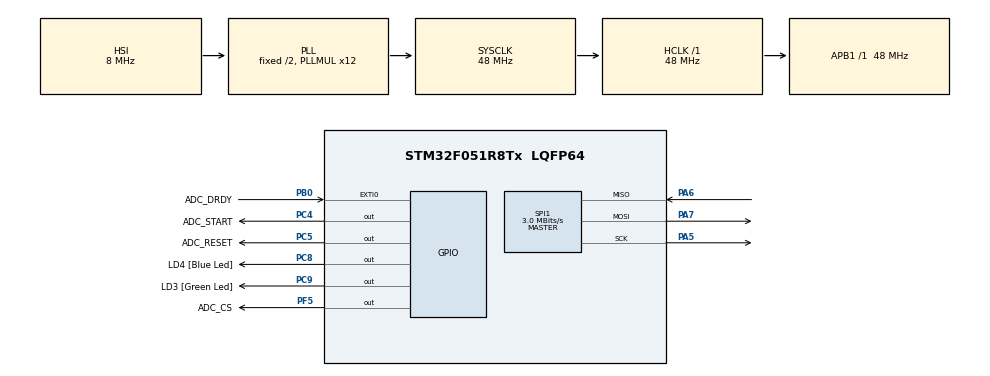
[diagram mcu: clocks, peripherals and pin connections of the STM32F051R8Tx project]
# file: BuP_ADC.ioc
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Mcu.Family=STM32F0
Mcu.Name=STM32F051R8Tx
Mcu.Package=LQFP64
NVIC.EXTI0_1_IRQn=true\:0\:0\:false\:false\:true\:true\:true
NVIC.SPI1_IRQn=true\:0\:0\:false\:false\:true\:true\:true
PA13.GPIO_Label=SWDIO
PA13.Mode=Serial_Wire
PA13.Signal=SYS_SWDIO
PA14.GPIO_Label=SWCLK
PA14.Mode=Serial_Wire
PA14.Signal=SYS_SWCLK
PA5.Mode=Full_Duplex_Master
PA5.Signal=SPI1_SCK
PA6.Mode=Full_Duplex_Master
PA6.Signal=SPI1_MISO
PA7.Mode=Full_Duplex_Master
PA7.Signal=SPI1_MOSI
PB0.GPIO_Label=ADC_DRDY
PB0.GPIO_ModeDefaultEXTI=GPIO_MODE_IT_FALLING
PB0.Signal=GPXTI0
PC4.GPIO_Label=ADC_START
PC4.Signal=GPIO_Output
PC5.GPIO_Label=ADC_RESET
PC5.Signal=GPIO_Output
PC8.GPIO_Label=LD4 [Blue Led]
PC8.Signal=GPIO_Output
PC9.GPIO_Label=LD3 [Green Led]
PC9.Signal=GPIO_Output
PF5.GPIO_Label=ADC_CS
PF5.GPIO_ModeDefaultOutputPP=GPIO_MODE_OUTPUT_PP
PF5.GPIO_PuPd=GPIO_NOPULL
PF5.PinState=GPIO_PIN_SET
PF5.Signal=GPIO_Output
ProjectManager.HeapSize=0x200
ProjectManager.StackSize=0x400
ProjectManager.TargetToolchain=STM32CubeIDE
RCC.AHBFreq_Value=48000000
RCC.APB1Freq_Value=48000000
RCC.APB1TimFreq_Value=48000000
RCC.HCLKFreq_Value=48000000
RCC.PLLMUL=RCC_PLL_MUL12
RCC.SYSCLKFreq_VALUE=48000000
RCC.SYSCLKSource=RCC_SYSCLKSOURCE_PLLCLK
SPI1.BaudRatePrescaler=SPI_BAUDRATEPRESCALER_16
SPI1.CLKPhase=SPI_PHASE_2EDGE
SPI1.CalculateBaudRate=3.0 MBits/s
SPI1.DataSize=SPI_DATASIZE_8BIT
SPI1.Direction=SPI_DIRECTION_2LINES
SPI1.Mode=SPI_MODE_MASTER
SPI1.VirtualType=VM_MASTER
board=STM32F0DISCOVERY

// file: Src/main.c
/* USER CODE BEGIN Header */
/**
  ******************************************************************************
  * @file           : main.c
  * @brief          : Main program body
  ******************************************************************************
  * @attention
  *
  * <h2><center>&copy; Copyright (c) 2019 STMicroelectronics.
  * All rights reserved.</center></h2>
  *
  * This software component is licensed by ST under BSD 3-Clause license,
  * the "License"; You may not use this file except in compliance with the
  * License. You may obtain a copy of the License at:
  *                        opensource.org/licenses/BSD-3-Clause
  *
  ******************************************************************************
  */
/* USER CODE END Header */

#include "main.h"
#include "spi.h"
#include "gpio.h"

/* USER CODE BEGIN Includes */
#include <math.h>
#include "ADS1204S0x.h"

/* USER CODE END Includes */

/* USER CODE BEGIN PD */

#define fullscale_voltage 2.5		// fullscale_voltage in Volt
#define bitresulution2 8388608		// 2^24 /2 --> Fullscale positiv

/* USER CODE END PD */

/* USER CODE BEGIN PV */

float f_measuredtemperature;		// Global variable for temperature
uint8_t ADCmeasuremenReady=0;		// Flag for measurement
float f_Channel3Measure;			// Global variable for extern input 3

uint8_t au8_registers[REGISTER_COUNT];	// Storrage for all registers (for later uses)

// Enum for statemachine temperaturemeasure
typedef enum {
	DISABLED,
	READY,			// Ready to measure
	NEWMEASURE,		// Data are completly read
	NEWTEMP,		// Data are calculated to temp
	MEASURE			// busy
}t_temperaturstate;

t_temperaturstate tempmeasurementstate = READY;	// define state

// Struct for measurement constants (depending of hardware)
typedef struct {
	float A 	;
	float B 	;
	float C 	;
	float alpha ;
	float R0 	;
	float R_11  ;		// Resistor 11 on ADCBoard (for current calculations )
}t_measurement_constants;

// Define PT100 depends on the used hardware
t_measurement_constants pt100 = {
		3.9083e-3,
		-5.775e-7,
		-4.183e-12,
		 3.85e-3,
		 100,
		 2200			//todo widerstand ist 2 ohm zu hoch --> Nullpunktabgleichen automatisieren :)
};

/* USER CODE END PV */

void SystemClock_Config(void);
/* USER CODE BEGIN PFP */

uint32_t ADCinit(void);

// ADC read registers
uint8_t ADCreadRegs(uint8_t u8_startadress, uint8_t u8_length, uint8_t *pu8_rxdata); 	// Read multiple registers
uint8_t ADCregread(uint8_t startadress);									// Read single register

// ADC write registers
uint8_t ADCwriteRegs(uint8_t startadress, uint8_t length, uint8_t *data);	// Write multiple registers
void ADCregwrite(uint8_t startadress, uint8_t data);						// Write single register

// ADC Commands
void ADCsendCommand(uint8_t op_code);
void ADCstart(void);						// Write START command

uint8_t setADCsigleChannel(uint8_t u8_channel);

// Calculations for temperature
float calctemperature(float Rtemp, t_measurement_constants tempresistor);				// Calculate Tempeature out of Rtemp
float calc_R_temperature(uint32_t *pu32_rawdata, t_measurement_constants tempresistor);	// Calculates Rtemp
float calcAnalogvoltage(uint32_t u32_measurement);										// Calculates analog voltage from input

// Data read funcions
float read_temperature(void);
uint32_t readsingleADCChannel(uint8_t u8_channel);			// Set Channel to required channel, delay until channel is stable, measure...
uint32_t ADRreadInput(uint8_t mode);					// Read data from ADC, mode 0= Command, 1= ISR (DRDY must be high)

/* USER CODE END PFP */

int main(void)
{

  /* MCU Configuration--------------------------------------------------------*/

  /* Reset of all peripherals, Initializes the Flash interface and the Systick. */
  HAL_Init();

  /* Configure the system clock */
  SystemClock_Config();

  /* Initialize all configured peripherals */
  MX_GPIO_Init();
  MX_SPI1_Init();
  /* USER CODE BEGIN 2 */

  ADCinit();
  /* USER CODE END 2 */

  /* Infinite loop */
  /* USER CODE BEGIN WHILE */

  if(tempmeasurementstate==READY)
  {
	  read_temperature();

  }//tempmeasurementstate;// = ready;

  while (1)
  {
	  /* ToDo
	   * - Berechnungen Widerstand & Temperatur		--> JUHU
	   * - Spannungen von Extern Auslesen			--> JUHU
	   * - ISR zum Auslesen							--> JUHU
	   * - Temperaturmessung ausprobieren			--> JUHU
	   * - Temperaturmesseung kallibrieren			-->
	   */

	  //HAL_GPIO_TogglePin(LD3_GPIO_Port, LD3_Pin);

	 /* for(uint8_t i=0; i<=4; i++)
	  {
		  read_temperature();
	  }

	  if(tempmeasurementstate == NEWTEMP)
	  {
		  f_measuredtemperature = read_temperature();
		  tempmeasurementstate = READY;

	  }
*/

	  f_Channel3Measure=calcAnalogvoltage( readsingleADCChannel(3));

    /* USER CODE END WHILE */

  }
}

void SystemClock_Config(void)
{
  RCC_OscInitTypeDef RCC_OscInitStruct = {0};
  RCC_ClkInitTypeDef RCC_ClkInitStruct = {0};

  /** Initializes the CPU, AHB and APB busses clocks
  */
  RCC_OscInitStruct.OscillatorType = RCC_OSCILLATORTYPE_HSI;
  RCC_OscInitStruct.HSIState = RCC_HSI_ON;
  RCC_OscInitStruct.HSICalibrationValue = RCC_HSICALIBRATION_DEFAULT;
  RCC_OscInitStruct.PLL.PLLState = RCC_PLL_ON;
  RCC_OscInitStruct.PLL.PLLSource = RCC_PLLSOURCE_HSI;
  RCC_OscInitStruct.PLL.PLLMUL = RCC_PLL_MUL12;
  RCC_OscInitStruct.PLL.PREDIV = RCC_PREDIV_DIV1;
  if (HAL_RCC_OscConfig(&RCC_OscInitStruct) != HAL_OK)
  {
    Error_Handler();
  }
  /** Initializes the CPU, AHB and APB busses clocks
  */
  RCC_ClkInitStruct.ClockType = RCC_CLOCKTYPE_HCLK|RCC_CLOCKTYPE_SYSCLK
                              |RCC_CLOCKTYPE_PCLK1;
  RCC_ClkInitStruct.SYSCLKSource = RCC_SYSCLKSOURCE_PLLCLK;
  RCC_ClkInitStruct.AHBCLKDivider = RCC_SYSCLK_DIV1;
  RCC_ClkInitStruct.APB1CLKDivider = RCC_HCLK_DIV1;

  if (HAL_RCC_ClockConfig(&RCC_ClkInitStruct, FLASH_LATENCY_1) != HAL_OK)
  {
    Error_Handler();
  }
}

/* USER CODE BEGIN 4 */

/* Diese Funktion wird bei einem DRDY Interrupt automatisch ausgeführt
 * Daten sind bereit und können ausgelesen werden.
 */
void ADC_DRDY_InputHandler(void)
{
	// HAL_GPIO_TogglePin(LD3_GPIO_Port, LD3_Pin);
	 ADCmeasuremenReady=1;
}

uint32_t ADCinit(void)
{
	HAL_Delay(3);												// minimum delay of 2.2 ms to allow power supplies to settle and power-up reset to complete
	HAL_GPIO_WritePin(ADC_RESET_GPIO_Port,ADC_RESET_Pin,1); 	// Set reset
	HAL_GPIO_WritePin(ADC_CS_GPIO_Port,ADC_CS_Pin,1);			//
	HAL_GPIO_WritePin(ADC_START_GPIO_Port, ADC_START_Pin,0);	// Start by command (Start pin LOW)
	HAL_Delay(10);

	while(ADCregread(STATUS_REG_ADDR) & ADS_RDY)				// Ready bit überprüfen  //todo ist bisschen hart wenn immer in dieser while
	{
		HAL_Delay(5);
	}
	ADCregwrite(STATUS_REG_ADDR, ADCregread(STATUS_REG_ADDR)&~ADS_FL_POR); // Clear FL POR Flag (Redback,...)

	ADCsendCommand(WAKE_COMMAND);		// Sollte nicht sein, jedoch zur sicherheit

	//todo

	//Read all Registers to simplify config
	ADCreadRegs(ID_REG_ADDR,REGISTER_COUNT, au8_registers);

	//Set Mode to single conversation opearation (Always use ADCstart() )
	//au8_registers[DATARATE_REG_ADDR] &= ADS_CONVMODE_SS;

	au8_registers[INPMUX_REG_ADDR]	|= (ADS_P_AIN4 | ADS_N_AINCOM); // // Select INPUT (INPMUX- Register): Setzen der Eingänge
	au8_registers[REF_REG_ADDR]		= (ADS_REFINT_ON_ALWAYS+ADS_REFSEL_INT); // Set Internal voltage Reference (2.5V Max inputvoltage = 2.5V)

	ADCwriteRegs(ID_REG_ADDR,REGISTER_COUNT, au8_registers); 	// write all registers

	//ADCregwrite(PGA_REG_ADDR, ADS_PGA_ENABLED);
	//ADCsendCommand(STOP_COMMAND);
	ADCsendCommand(START_COMMAND);

	ADCstart();
	//HAL_GPIO_WritePin(ADC_START_GPIO_Port, ADC_START_Pin,1);	// Start by Pin

	return 0;
}

/* Schreibt ein Register des ADCs
 * @param	startadress 	-> Zu schreibendes Register
 * @param	data			-> Daten für in das Register
 */
void ADCregwrite(uint8_t startadress, uint8_t data)
{
	uint8_t txdata[1] = {data};
	ADCwriteRegs(startadress, 1, txdata);
}

/* Liest ein Register des ADCs
 * @param	startadress	-> zu lesendes Register
 * @resp	Gelesenes Register
 */
uint8_t ADCregread(uint8_t startadress)
{
	uint8_t rxdata[1] = {0};
	ADCreadRegs(startadress, 1, rxdata);
	return rxdata[0];
}

/* Sendet ADC Komando Start (steuerung über Command, Start-PIN = LOW)
 */
void ADCstart(void)
{
	ADCmeasuremenReady=0;
	//ADCsendCommand(START_COMMAND);
}

/* Schreibt mehrere, aufeinanderfolgende Register des ADCs
 * @param	u8_startadress	-> Erstes zu schreibendes Register
 * @param	u8_length		-> Anzahl zu schreibende 8Bit Register
 * @param 	pu8_data		-> Pointer auf Array mit den Daten
 * @resp	erfolgreich =1, sonst 0
 */
uint8_t ADCwriteRegs(uint8_t u8_startadress, uint8_t u8_length, uint8_t *pu8_data)
{
	/*	Protokollaufbau:
	 * 	0b010r'rrrr		Startadress | 0x40 for WriteRegister
	 * 	length -1		0 = 1Byte, 1= 2Byte
	 * 	Data(...)
	 */

	// checks maximal length
	if(u8_length==0 && u8_length > REGISTER_COUNT)	// sonst werden keine Daten gesendet, Max register, 0 ist auch ein register! deshalb >=
	{
		return 0;
	}

	// erstellen eines Array für das senden der Daten
	uint8_t txdata[u8_length+2];
	txdata[0]= u8_startadress | 0x40; 	// set write command
	txdata[1]= u8_length -1; 	// 0x00 is 1 byte

	for(uint8_t i=0; i<u8_length; i++)	// Dateiinhalt in txdata plazieren
	{
		txdata[i+2]= *(pu8_data+i);
	}

	HAL_GPIO_WritePin(ADC_CS_GPIO_Port, ADC_CS_Pin,0);
	HAL_Delay(CHIP_SELECT_WAIT_TIME);

	HAL_SPI_Transmit(&hspi1,txdata,u8_length+2,10);			// +2 for startadress and length, length is only datacount

	HAL_Delay(CHIP_SELECT_WAIT_TIME);
	HAL_GPIO_WritePin(ADC_CS_GPIO_Port,ADC_CS_Pin,1);

	return 1;
}

/* Liest mehrere, aufeinanderfolgende Register des ADCs
 * @param	u8_startadress	-> Erstes zu lesendes Register
 * @param	u8_length		-> Anzahl zu lesende 8Bit Register
 * @param 	pu8_rxdata		-> Pointer auf Array mit den Daten
 * @resp	erfolgreich =1, sonst 0	//todo
 */
uint8_t ADCreadRegs(uint8_t u8_startadress, uint8_t u8_length, uint8_t *pu8_rxdata) 	// Speichert rückgabe in rxdata
{
	/*	Protokollaufbau:
	 * 	Senden des Befehles:
	 * 		0b001r'rrrr		Startadress | 0x20 for ReadRegister
	 * 		length -1		0 = 1Byte, 1= 2Byte
	 * 	Lesen der Daten
	 * 	Data(...)
	 */

	// checks maximal length
	if(u8_length==0 && u8_length > REGISTER_COUNT)	// sonst werden keine Daten gesendet, Max register, 0 ist auch ein register! deshalb >=
	{
		return 0;
	}

	uint8_t txdata[2] = {u8_startadress |0x20 , u8_length-1};	// create array for spi transmit (to get a response from ADC)

	HAL_GPIO_WritePin(ADC_CS_GPIO_Port, ADC_CS_Pin,0);
	HAL_Delay(CHIP_SELECT_WAIT_TIME);

	HAL_SPI_Transmit(&hspi1,txdata, 2, 10);			//Transmit TX Data (2 Bytes)
	HAL_SPI_Receive(&hspi1, pu8_rxdata, u8_length, 50);		//todo realy +1?

	HAL_Delay(CHIP_SELECT_WAIT_TIME);
	HAL_GPIO_WritePin(ADC_CS_GPIO_Port,ADC_CS_Pin,1);
}

/*	Senden eines Befehls für den ADC
 * 	@param	u8_opcode	-> befehl aus ADS1204S0x.h
 */
void ADCsendCommand(uint8_t u8_opcode)
{
	HAL_GPIO_WritePin(ADC_CS_GPIO_Port, ADC_CS_Pin,0);
	HAL_Delay(CHIP_SELECT_WAIT_TIME);

	uint8_t txbuf[1]= {u8_opcode};				//Start Convertion via Command
	HAL_SPI_Transmit(&hspi1,txbuf,1,10);

	HAL_Delay(CHIP_SELECT_WAIT_TIME);
	HAL_GPIO_WritePin(ADC_CS_GPIO_Port,ADC_CS_Pin,1);

}

/*	Read positive ADC Input, as negative is AINCOM set
 * 	Die Funktion kann in der ISR von DRDY ausgeführt werden (mode=0), oder immer (mode=1)
 * 	@param mode =1 -> Read with command , mode = 0 -> DRDY is high !
 * 	@return u32_result
 */
uint32_t ADRreadInput(uint8_t mode) 	// 0=DRDY high, 1=Command
{
		uint8_t rxbuf[3]={1,1,1};
		uint32_t u32_result=0;
		uint8_t dStatus[1];
		uint8_t dCRC[1];

		if (mode == 1) // Read by Command
		{
			ADCsendCommand(RDATA_COMMAND);	//RDATA => Read Data
		}

		HAL_GPIO_WritePin(ADC_CS_GPIO_Port, ADC_CS_Pin,0);
		HAL_Delay(CHIP_SELECT_WAIT_TIME);

		//todo

		// if the Status byte is set - grab it
		if( (au8_registers[SYS_REG_ADDR] & ADS_SENDSTATUS_ENABLE) )
		{
			HAL_SPI_Receive(&hspi1, dStatus,1,10);
		}

		HAL_SPI_Receive(&hspi1,rxbuf,3,10); //Read Datarate Register --> Ohne CRC und Status

		// is CRC enabled?
		if( (au8_registers[SYS_REG_ADDR] & ADS_CRC_ENABLE) )
		{
			HAL_SPI_Receive(&hspi1, dCRC,1,10);

			//todo calc CRC
		}

		HAL_Delay(CHIP_SELECT_WAIT_TIME);
		HAL_GPIO_WritePin(ADC_CS_GPIO_Port,ADC_CS_Pin,1);

		u32_result = rxbuf[0];
		u32_result = (u32_result<<8) + rxbuf[1];
		u32_result = (u32_result<<8) + rxbuf[2];

		return u32_result;

}

/*	Setzen eines Inputchannels des ADC (AIN Neg = AINCOM)
 * 	Kanal wird zuerst gesetzt, dann wird gewartet !!
 * 	@param u8_channel 	-> AIN0... AIN5 (ADS124S06), AIN0...AIN11 (ASD124S08)
 * 	@ return  -> success =1
 */
uint8_t setADCsigleChannel(uint8_t u8_channel)
{
	if (au8_registers[ID_REG_ADDR] & ADS_124S06 && u8_channel > (ADS_P_AIN5 >> 4) )	// DS124S06 has only 6 channels (AIN5 is max)
	{
		return 0;
	}
	else if(u8_channel > (ADS_P_AIN11 >> 4) )						// DS124S08 has 12 channels (AIN11 is max)
	{
		return 0;
	}

	else
	{
		ADCregwrite(INPMUX_REG_ADDR,(u8_channel<<4 | ADS_N_AINCOM));
		HAL_Delay(7); 		// Delay until Input is stable (Datasheet p.36, Table 10. Internal Reference Settling Time)
		return 1;
	}
}

/*	Liest einzelnen ADCKanal aus
 * 	@param 	u8_channel -> zu lesender Kanal
 * 	@resp 	-> ADC output
 */
uint32_t readsingleADCChannel(uint8_t u8_channel)
{
	if(setADCsigleChannel(u8_channel))
	{

		ADCstart();
		while(ADCmeasuremenReady!=1);
		return ADRreadInput(1);

	}
	else
	{
		return 0;
	}

}

float read_temperature(void)		//need be called in a while. Flag newtemperatureavaliable is set if set and must be cleared manualy !
{
	static uint32_t au32_rawdata[3];
	static uint8_t u8_rawcounter;
	static float temperature;

	switch(tempmeasurementstate)
	{
		case MEASURE: 		// ISR CALL
			setADCsigleChannel(u8_rawcounter);
			ADCstart();
			while(ADCmeasuremenReady!=1);
			au32_rawdata[u8_rawcounter]= ADRreadInput(1); 	// Read (DRDY is high)
			u8_rawcounter ++;
			if(u8_rawcounter >= 3)
			{
				tempmeasurementstate = NEWMEASURE;
			}

			return u8_rawcounter;
			break;

		case READY:
			u8_rawcounter=0;
			tempmeasurementstate=MEASURE;

			break;

		// Both response are temperature
		case NEWMEASURE:
			u8_rawcounter=0;
			tempmeasurementstate = NEWTEMP;
			temperature = calctemperature( calc_R_temperature(au32_rawdata, pt100), pt100 );
		case NEWTEMP:
			return temperature;

		default:
			return 0;
	}
	return 0;
}

float calc_R_temperature(uint32_t *pu32_rawdata, t_measurement_constants tempresistor)		// Berechnung R_temp
{
	// Berechnung: Upt100= ADC0-2xADC1 + ADC2
	uint32_t u32_result_ADCsteps=  	pu32_rawdata[0] + pu32_rawdata[2] - 2*(pu32_rawdata[1]);

	// Steps to voltage
	float u32_result_ADCvoltage = 	(float) (fullscale_voltage * u32_result_ADCsteps / bitresulution2 );		// bitresolution2 for the positive spectrum

	//  R= U/I = U / ( UR_I / R_I ) =  U * R_I / UR_I
	float Voltage_R_11 =  (float) (fullscale_voltage * pu32_rawdata[2] / bitresulution2);

	return (u32_result_ADCvoltage * tempresistor.R_11 / Voltage_R_11 );
}

float calctemperature(float Rtemp, t_measurement_constants tempresistor)
{
	if(Rtemp>=100)		// ToDo Temperatur >= 0°C
	{
		/* For Calculate the temperature from the Resistance in positve the Callendar-Van Dusen equation is used.
		 * https://en.wikipedia.org/wiki/Resistance_thermometer
		 * 	T= -A + sqrt(A^2 - 4*B *(1- (Rtemp/R0) )) / 2*B
		 */

		return (-tempresistor.A + sqrt((tempresistor.A * tempresistor.A) - 4*tempresistor.B*(1-(Rtemp/tempresistor.R0))))	/(2*tempresistor.B);
	}
	else
	{
		/*
		 * Negative Temperature
		 * For easy calculating, the same formula is used in negative temperature.
		 * He isn't correct because C isn't 0 as in the positive temperature
		 * In this case we get a measurement error
		 * todo for future improuvement a new calculation
		 */

		return (-tempresistor.A + sqrt((tempresistor.A * tempresistor.A) - 4*tempresistor.B*(1-(Rtemp/tempresistor.R0))))	/(2*tempresistor.B);
	}

}

float calcAnalogvoltage(uint32_t u32_measurement)
{
	return fullscale_voltage * u32_measurement / bitresulution2;
}

/* USER CODE END 4 */

void Error_Handler(void)
{
}

/************************ (C) COPYRIGHT STMicroelectronics *****END OF FILE****/
